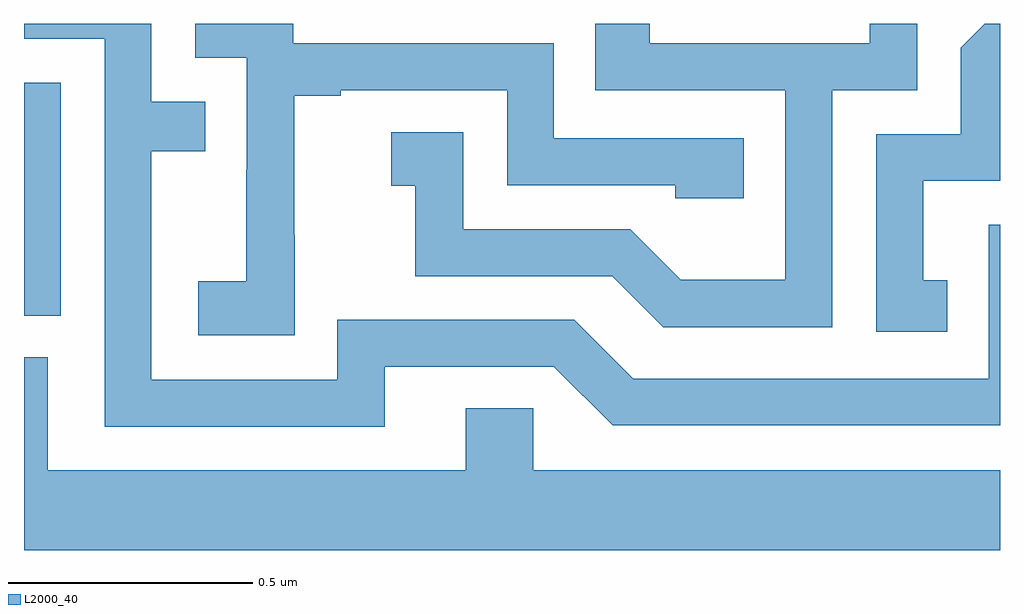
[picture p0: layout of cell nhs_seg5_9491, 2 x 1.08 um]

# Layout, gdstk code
import gdstk
lib = gdstk.Library(unit=1e-6, precision=1e-09)
def R(c, l, rs):  # rectangles x0, y0, x1, y1
    for r in rs: c.add(gdstk.rectangle(r[:2], r[2:], *l))
def P(c, l, *ps):  # polygons
    for p in ps: c.add(gdstk.Polygon(p, *l))
L2000_40 = (2000, 40)

nhs_seg5_9491 = lib.new_cell('nhs_seg5_9491')
R(nhs_seg5_9491, L2000_40, [(234,897.201,234.075,897.678)])
P(nhs_seg5_9491, L2000_40, [(235.656,897.663),(235.83,897.663),(235.83,897.799),(235.733,897.799),(235.733,897.759),(235.282,897.759),(235.282,897.799),(235.171,897.799),(235.171,897.663),(235.56,897.663),(235.56,897.274),(235.346,897.274),(235.242,897.378),(234.9,897.378),(234.9,897.577),(234.753,897.577),(234.753,897.467),(234.802,897.467),(234.802,897.282),(235.205,897.282),(235.31,897.177),(235.656,897.177)],
  [(235.892,897.273),(235.843,897.273),(235.843,897.477),(236,897.477),(236,897.799),(235.969,897.799),(235.92,897.75),(235.92,897.573),(235.746,897.573),(235.746,897.168),(235.892,897.168)],
  [(234.555,897.367),(234.554,897.367),(234.554,897.651),(234.649,897.651),(234.649,897.663),(234.99,897.663),(234.99,897.468),(235.335,897.468),(235.335,897.441),(235.475,897.441),(235.475,897.564),(235.086,897.564),(235.086,897.759),(234.552,897.759),(234.552,897.799),(234.351,897.799),(234.351,897.729),(234.456,897.729),(234.456,897.5),(234.455,897.5),(234.455,897.271),(234.357,897.271),(234.357,897.161),(234.555,897.161)],
  [(234.739,897.096),(235.086,897.096),(235.206,896.976),(236,896.976),(236,897.387),(235.977,897.387),(235.977,897.072),(235.248,897.072),(235.128,897.192),(234.642,897.192),(234.642,897.069),(234.261,897.069),(234.261,897.538),(234.371,897.538),(234.371,897.639),(234.261,897.639),(234.261,897.799),(234,897.799),(234,897.768),(234.165,897.768),(234.165,896.973),(234.739,896.973)],
  [(236,896.884),(235.044,896.884),(235.044,897.011),(234.905,897.011),(234.905,896.884),(234.049,896.884),(234.049,897.116),(234,897.116),(234,896.72),(236,896.72)])

lib.write_gds('nhs_seg5_9491.gds')
